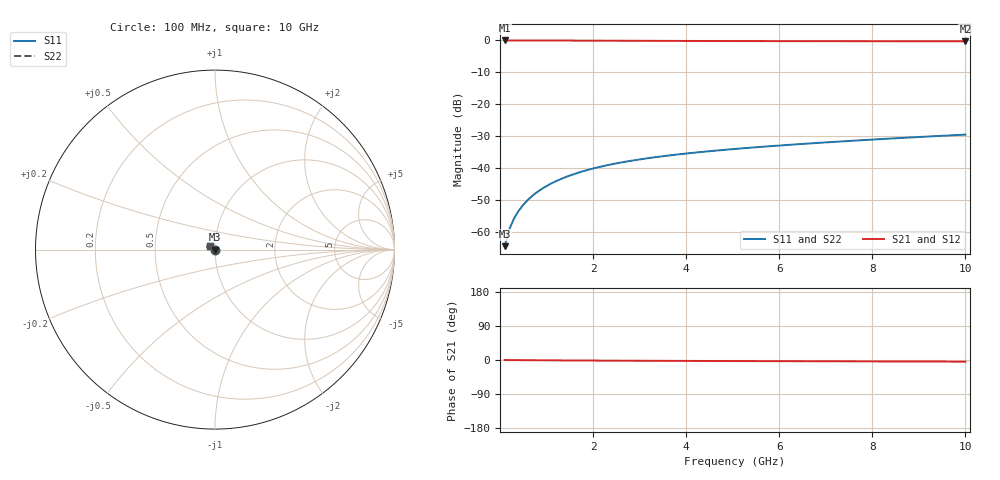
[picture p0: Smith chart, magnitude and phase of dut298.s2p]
! Touchstone file exported from HFSS 2024.1.0
!  File:  C:/UserFiles/LocalFiles/RDL_TSV_Batchsim/temp_TSV1_298_1779394959.aedt
!  Generated:  04:29:45 AM May 22, 2026
!  Design:  TSV1
!  Project:  temp_TSV1_298_1779394959
!  Setup:  Setup1
!  Solution:  Sweep
! Variables:
!  dtsv = 6.54um
!  hbump = 3um
!  htsv = 60.26um
!  lrdl = 252.1521522um
!  p = 40
!  p1 = 55.28um
!  t = 500um
!  trdl = 3um
!  wrdl = 24.89489489um
# GHz S MA R 50.000000
! Terminal data exported
! Port[1] = TSV22_T1
! Port[2] = TSV22_T2
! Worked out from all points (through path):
!   100 points, 100 MHz to 10 GHz, reference 50 ohm
!   highest |S21| = 0.00 dB at 100 MHz (marker M1); lowest = -0.3 dB at 10 GHz (marker M2)
!   lowest |S11| = -64.4 dB at 100 MHz (marker M3), VSWR 1.00, Z = 50 - j0.0542 ohm
!   |S11| at or under -10 dB: start of sweep to end of sweep
!   |S22| runs from -64.4 to -29.5 dB; largest |S21 - S12| = 3.8e-15
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0.1  0.0006001 -64.6  0.9997 -0.1  0.9997 -0.1  0.0006001 -64.6
! Gamma 0 0 0 0
! Port Impedance 50 0 50 0
0.2  0.001096 -80.3  0.9996 -0.2  0.9996 -0.2  0.001096 -80.3
0.3  0.001614 -87.7  0.9995 -0.3  0.9995 -0.3  0.001614 -87.7
0.4  0.002138 -92.7  0.9993 -0.4  0.9993 -0.4  0.002138 -92.7
0.5  0.002663 -96.7  0.9991 -0.4  0.9991 -0.4  0.002663 -96.7
0.6  0.003187 -100.2  0.9988 -0.5  0.9988 -0.5  0.003187 -100.2
0.7  0.003707 -103.3  0.9985 -0.6  0.9985 -0.6  0.003707 -103.3
0.8  0.004224 -106.2  0.9982 -0.7  0.9982 -0.7  0.004224 -106.2
0.9  0.004736 -109.0  0.9978 -0.8  0.9978 -0.8  0.004736 -109.0
1.1  0.005741 -114.2  0.997 -0.9  0.997 -0.9  0.005741 -114.2
1.4  0.007193 -121.5  0.9955 -1.1  0.9955 -1.1  0.007193 -121.5
1.6  0.00812 -126.1  0.9945 -1.3  0.9945 -1.3  0.00812 -126.1
1.8  0.009013 -130.5  0.9934 -1.4  0.9934 -1.4  0.009013 -130.5
2.1  0.01029 -136.8  0.9917 -1.6  0.9917 -1.6  0.01029 -136.8
2.5  0.01188 -144.7  0.9895 -1.8  0.9895 -1.8  0.01188 -144.7
2.9  0.01335 -151.9  0.9873 -2.0  0.9873 -2.0  0.01335 -151.9
3.4  0.01505 -160.2  0.9848 -2.2  0.9848 -2.2  0.01505 -160.2
4.2  0.01754 -171.7  0.9814 -2.5  0.9814 -2.5  0.01754 -171.7
5.1  0.02013 177.4  0.9783 -2.8  0.9783 -2.8  0.02013 177.4
6.7  0.0245 162.0  0.9745 -3.3  0.9745 -3.3  0.0245 162.0
8.4  0.0291 149.9  0.9718 -3.8  0.9718 -3.8  0.0291 149.9
10  0.03353 141.2  0.97 -4.3  0.97 -4.3  0.03353 141.2
